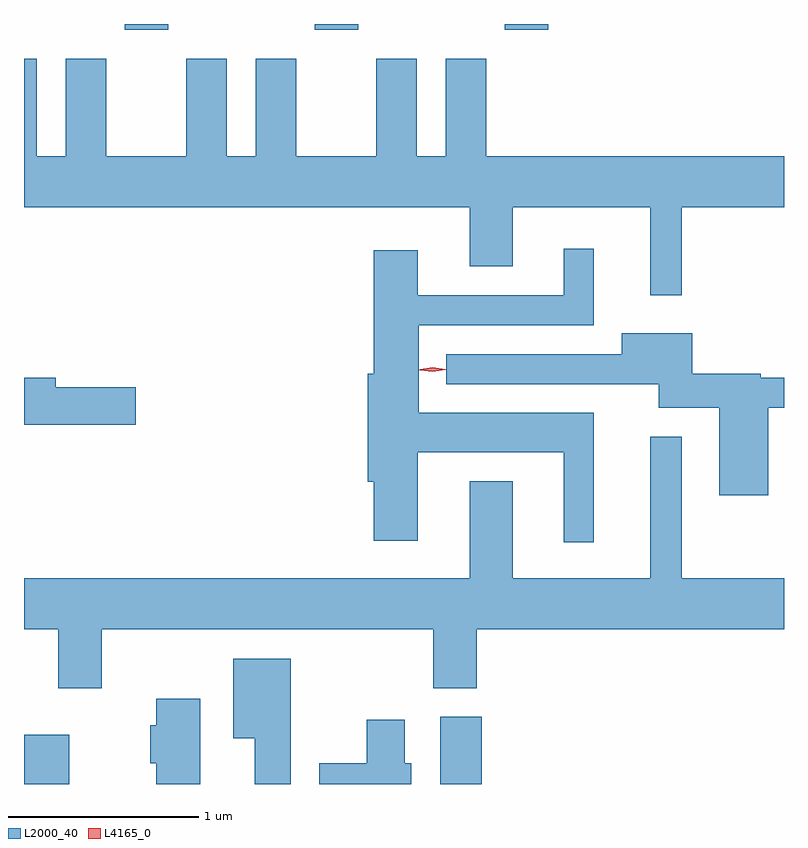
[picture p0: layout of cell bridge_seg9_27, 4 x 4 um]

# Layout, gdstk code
import gdstk
lib = gdstk.Library(unit=1e-6, precision=1e-09)
def R(c, l, rs):  # rectangles x0, y0, x1, y1
    for r in rs: c.add(gdstk.rectangle(r[:2], r[2:], *l))
def A(c, l, x, y, w, h, nx, ny, dx, dy):  # array of equal rectangles
    R(c, l, [(x+i*dx, y+j*dy, x+i*dx+w, y+j*dy+h) for i in range(nx) for j in range(ny)])
def P(c, l, *ps):  # polygons
    for p in ps: c.add(gdstk.Polygon(p, *l))
L2000_40 = (2000, 40)
L4165_0 = (4165, 0)

bridge_seg9_27 = lib.new_cell('bridge_seg9_27')
A(bridge_seg9_27, L2000_40, 1537.106, 2081.551, 0.228, 0.03, 3, 1, 1, 0)
R(bridge_seg9_27, L2000_40, [(1536.576,2077.581,1536.814,2077.839), (1538.766,2077.581,1538.984,2077.934)])
P(bridge_seg9_27, L2000_40, [(1540.039,2080.616),(1540.576,2080.616),(1540.576,2080.884),(1539.009,2080.884),(1539.009,2081.399),(1538.796,2081.399),(1538.796,2080.884),(1538.644,2080.884),(1538.644,2081.399),(1538.431,2081.399),(1538.431,2080.884),(1538.009,2080.884),(1538.009,2081.399),(1537.796,2081.399),(1537.796,2080.884),(1537.644,2080.884),(1537.644,2081.399),(1537.431,2081.399),(1537.431,2080.884),(1537.009,2080.884),(1537.009,2081.399),(1536.796,2081.399),(1536.796,2080.884),(1536.644,2080.884),(1536.644,2081.399),(1536.576,2081.399),(1536.576,2080.616),(1538.921,2080.616),(1538.921,2080.306),(1539.149,2080.306),(1539.149,2080.616),(1539.871,2080.616),(1539.871,2080.153),(1540.039,2080.153)],
  [(1539.574,2079.534),(1538.654,2079.534),(1538.654,2079.996),(1539.574,2079.996),(1539.574,2080.398),(1539.416,2080.398),(1539.416,2080.154),(1538.649,2080.154),(1538.649,2080.389),(1538.416,2080.389),(1538.416,2079.739),(1538.386,2079.739),(1538.386,2079.171),(1538.416,2079.171),(1538.416,2078.861),(1538.649,2078.861),(1538.649,2079.326),(1539.416,2079.326),(1539.416,2078.853),(1539.574,2078.853)],
  [(1540.494,2079.561),(1540.576,2079.561),(1540.576,2079.719),(1540.454,2079.719),(1540.454,2079.739),(1540.094,2079.739),(1540.094,2079.954),(1539.721,2079.954),(1539.721,2079.844),(1538.798,2079.844),(1538.798,2079.686),(1539.916,2079.686),(1539.916,2079.561),(1540.236,2079.561),(1540.236,2079.101),(1540.494,2079.101)],
  [(1537.164,2079.669),(1536.744,2079.669),(1536.744,2079.719),(1536.576,2079.719),(1536.576,2079.471),(1537.164,2079.471)],
  [(1536.576,2078.396),(1536.756,2078.396),(1536.756,2078.086),(1536.984,2078.086),(1536.984,2078.396),(1538.731,2078.396),(1538.731,2078.086),(1538.959,2078.086),(1538.959,2078.396),(1540.576,2078.396),(1540.576,2078.664),(1540.039,2078.664),(1540.039,2079.408),(1539.871,2079.408),(1539.871,2078.664),(1539.149,2078.664),(1539.149,2079.174),(1538.921,2079.174),(1538.921,2078.664),(1536.576,2078.664)],
  [(1537.979,2078.239),(1537.676,2078.239),(1537.676,2077.821),(1537.791,2077.821),(1537.791,2077.581),(1537.979,2077.581)],
  [(1537.504,2078.029),(1537.271,2078.029),(1537.271,2077.889),(1537.241,2077.889),(1537.241,2077.691),(1537.271,2077.691),(1537.271,2077.581),(1537.504,2077.581)],
  [(1538.614,2077.689),(1538.579,2077.689),(1538.579,2077.919),(1538.381,2077.919),(1538.381,2077.689),(1538.131,2077.689),(1538.131,2077.581),(1538.614,2077.581)])
P(bridge_seg9_27, L4165_0, [(1538.727,2079.754),(1538.662,2079.763),(1538.661,2079.764),(1538.662,2079.764),(1538.727,2079.774),(1538.792,2079.764),(1538.793,2079.764),(1538.792,2079.763)],
  [(1538.727,2079.75),(1538.658,2079.759),(1538.657,2079.76),(1538.658,2079.76),(1538.727,2079.77),(1538.796,2079.761),(1538.796,2079.76),(1538.796,2079.76)])

lib.write_gds('bridge_seg9_27.gds')
